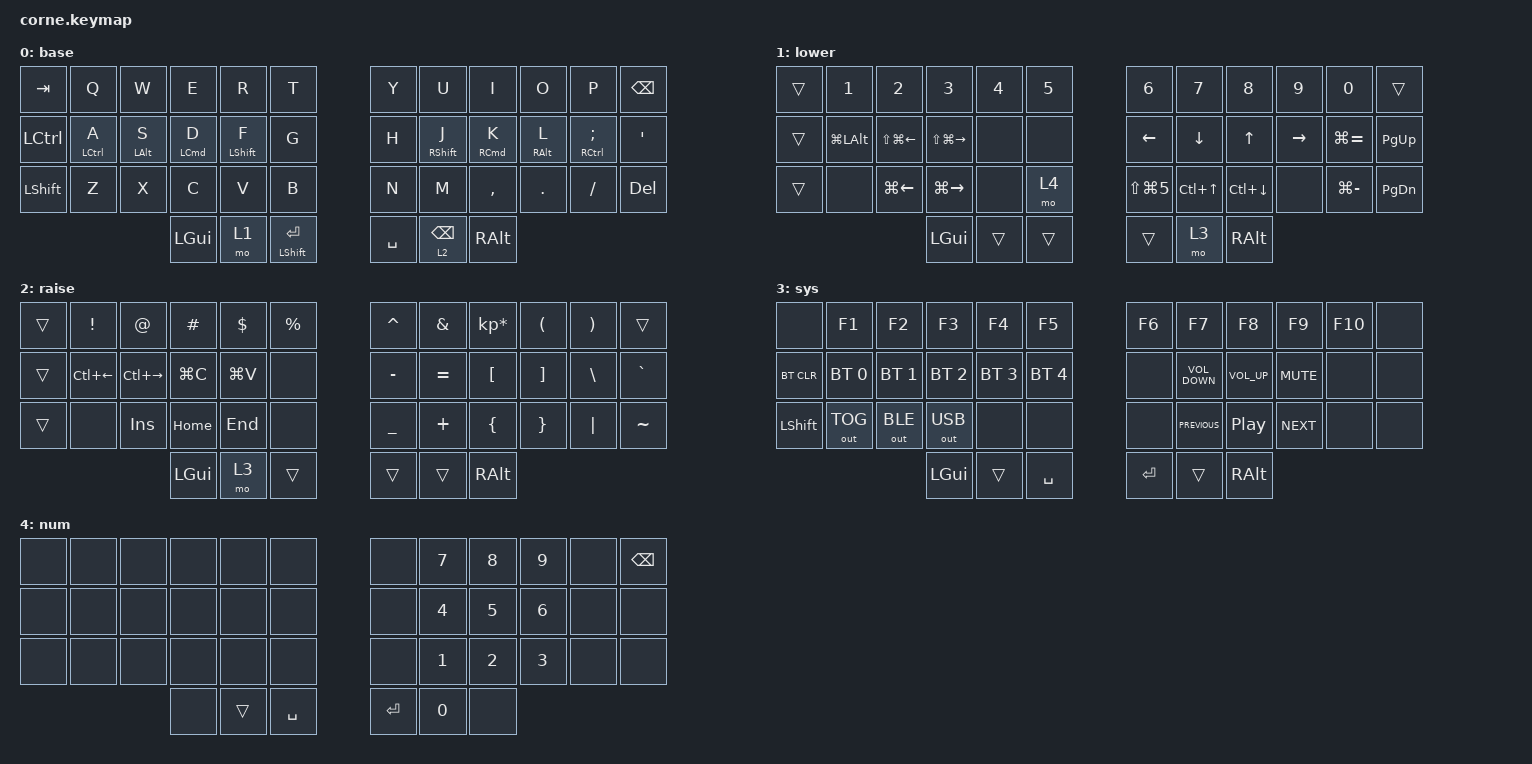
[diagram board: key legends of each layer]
/*
 * Copyright (c) 2020 The ZMK Contributors
 *
 * SPDX-License-Identifier: MIT
 */

#include <behaviors.dtsi>
#include <dt-bindings/zmk/bt.h>
#include <dt-bindings/zmk/keys.h>
#include <dt-bindings/zmk/outputs.h>

/ {
    combos {
        compatible = "zmk,combos";

        brace_left {
            bindings = <&kp LEFT_BRACKET>;
            key-positions = <17 16>;
        };

        brace_right {
            bindings = <&kp RIGHT_BRACKET>;
            key-positions = <18 19>;
        };

        parens_left {
            bindings = <&kp LEFT_PARENTHESIS>;
            key-positions = <4 5>;
        };

        parens_right {
            bindings = <&kp RIGHT_PARENTHESIS>;
            key-positions = <6 7>;
        };

        curly_left {
            bindings = <&kp LEFT_BRACE>;
            key-positions = <28 29>;
        };

        curly_right {
            bindings = <&kp RIGHT_BRACE>;
            key-positions = <30 31>;
        };

        escape {
            bindings = <&kp ESCAPE>;
            key-positions = <0 1>;
        };

        caps_word {
            bindings = <&caps_word>;
            key-positions = <17 18>;
        };
    };

    behaviors {
        home_row_mod_left: home_row_mod_left {
            compatible = "zmk,behavior-hold-tap";
            label = "HOME_ROW_MOD_LEFT";
            bindings = <&kp>, <&kp>;

            #binding-cells = <2>;
            tapping-term-ms = <280>;
            quick-tap-ms = <175>;
            require-prior-idle-ms = <150>;
            flavor = "balanced";
            hold-trigger-on-release;
            hold-trigger-key-positions = <6 7 8 9 10 11 18 19 20 21 22 23 30 31 32 33 34 35 39 40 41>;
        };

        home_row_mod_right: home_row_mod_right {
            compatible = "zmk,behavior-hold-tap";
            label = "HOME_ROW_MOD_RIGHT";
            bindings = <&kp>, <&kp>;

            #binding-cells = <2>;
            tapping-term-ms = <280>;
            quick-tap-ms = <175>;
            require-prior-idle-ms = <150>;
            flavor = "balanced";
            hold-trigger-on-release;
            hold-trigger-key-positions = <0 1 2 3 4 5 12 13 14 15 16 17 24 25 26 27 28 29 36 37 38>;
        };
    };

    keymap {
        compatible = "zmk,keymap";

        default_layer {
            // -----------------------------------------------------------------------------------------
            // |  TAB |  Q  |  W  |  E  |  R  |  T  |   |  Y  |  U   |  I  |  O  |  P  | BKSP |
            // | CTRL |  A  |  S  |  D  |  F  |  G  |   |  H  |  J   |  K  |  L  |  ;  |  '   |
            // | SHFT |  Z  |  X  |  C  |  V  |  B  |   |  N  |  M   |  ,  |  .  |  /  | ESC  |
            //                    | GUI | LWR | SPC |   | ENT | RSE  | ALT |

            display-name = "base";
            bindings = <
&kp TAB    &kp Q                       &kp W                      &kp E                      &kp R                       &kp T                   &kp Y      &kp U                        &kp I                       &kp O                       &kp P                           &kp BSPC
&kp LCTRL  &home_row_mod_left LCTRL A  &home_row_mod_left LALT S  &home_row_mod_left LCMD D  &home_row_mod_left LSHFT F  &kp G                   &kp H      &home_row_mod_right RSHFT J  &home_row_mod_right RCMD K  &home_row_mod_right RALT L  &home_row_mod_right RCTRL SEMI  &kp SQT
&kp LSHFT  &kp Z                       &kp X                      &kp C                      &kp V                       &kp B                   &kp N      &kp M                        &kp COMMA                   &kp DOT                     &kp FSLH                        &kp DELETE
                                                                  &kp LGUI                   &mo 1                       &mt LEFT_SHIFT ENTER    &kp SPACE  &lt 2 BACKSPACE              &kp RALT
            >;
        };

        lower_layer {
            // -----------------------------------------------------------------------------------------
            // |  TAB |  1  |  2  |  3  |  4  |  5  |   |  6  |  7  |  8  |  9  |  0  | BKSP |
            // | BTCLR| BT1 | BT2 | BT3 | BT4 | BT5 |   | LFT | DWN |  UP | RGT |     |      |
            // | SHFT |     |     |     |     |     |   |     |     |     |     |     |      |
            //                    | GUI |     | SPC |   | ENT |     | ALT |

            display-name = "lower";
            bindings = <
&trans  &kp N1        &kp N2                  &kp N3             &kp N4  &kp N5    &kp N6          &kp N7            &kp N8        &kp N9     &kp N0         &trans
&trans  &kp LG(LALT)  &kp LS(LG(LEFT_ARROW))  &kp LS(LG(RIGHT))  &none   &none     &kp LEFT        &kp DOWN          &kp UP        &kp RIGHT  &kp LG(EQUAL)  &kp PAGE_UP
&trans  &none         &kp LG(LEFT_ARROW)      &kp LG(RIGHT)      &none   &mo 4     &kp LS(LG(N5))  &kp LC(UP_ARROW)  &kp LC(DOWN)  &none      &kp LG(MINUS)  &kp PAGE_DOWN
                                              &kp LGUI           &trans  &trans    &trans          &mo 3             &kp RALT
            >;
        };

        raise_layer {
            // -----------------------------------------------------------------------------------------
            // |  TAB |  !  |  @  |  #  |  $  |  %  |   |  ^  |  &  |  *  |  (  |  )  | BKSP |
            // | CTRL |     |     |     |     |     |   |  -  |  =  |  [  |  ]  |  \  |  `   |
            // | SHFT |     |     |     |     |     |   |  _  |  +  |  {  |  }  | "|" |  ~   |
            //                    | GUI |     | SPC |   | ENT |     | ALT |

            display-name = "raise";
            bindings = <
&trans  &kp EXCL            &kp AT         &kp HASH   &kp DLLR   &kp PRCNT    &kp CARET  &kp AMPS   &kp KP_MULTIPLY  &kp LPAR  &kp RPAR  &trans
&trans  &kp LC(LEFT_ARROW)  &kp LC(RIGHT)  &kp LG(C)  &kp LG(V)  &none        &kp MINUS  &kp EQUAL  &kp LBKT         &kp RBKT  &kp BSLH  &kp GRAVE
&trans  &none               &kp INS        &kp HOME   &kp END    &none        &kp UNDER  &kp PLUS   &kp LBRC         &kp RBRC  &kp PIPE  &kp TILDE
                                           &kp LGUI   &mo 3      &trans       &trans     &trans     &kp RALT
            >;
        };

        sys_layer {
            display-name = "sys";
            bindings = <
&none       &kp F1        &kp F2        &kp F3        &kp F4        &kp F5          &kp F6   &kp F7             &kp F8            &kp F9      &kp F10  &none
&bt BT_CLR  &bt BT_SEL 0  &bt BT_SEL 1  &bt BT_SEL 2  &bt BT_SEL 3  &bt BT_SEL 4    &none    &kp C_VOLUME_DOWN  &kp C_VOLUME_UP   &kp K_MUTE  &none    &none
&kp LSHFT   &out OUT_TOG  &out OUT_BLE  &out OUT_USB  &none         &none           &none    &kp C_PREVIOUS     &kp C_PLAY_PAUSE  &kp C_NEXT  &none    &none
                                        &kp LGUI      &trans        &kp SPACE       &kp RET  &trans             &kp RALT
            >;
        };

        //                extra_1 {
        //                        status = "reserved";
        //                };

        numpad {
            display-name = "num";
            bindings = <
&none  &none  &none  &none  &none   &none        &none    &kp N7  &kp N8  &kp N9  &none  &kp BACKSPACE
&none  &none  &none  &none  &none   &none        &none    &kp N4  &kp N5  &kp N6  &none  &none
&none  &none  &none  &none  &none   &none        &none    &kp N1  &kp N2  &kp N3  &none  &none
                     &none  &trans  &kp SPACE    &kp RET  &kp N0  &none
            >;
        };

        extra_3 { status = "reserved"; };
    };
};
